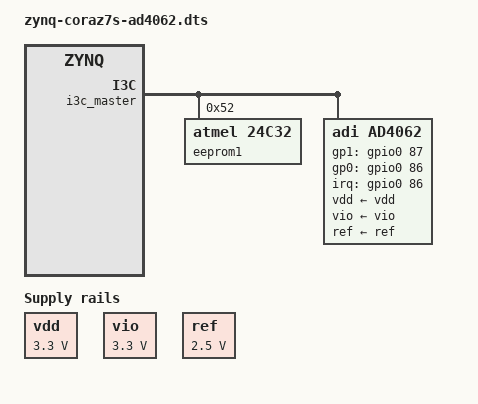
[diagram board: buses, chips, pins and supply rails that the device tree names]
// SPDX-License-Identifier: GPL-2.0
/*
 * Analog Devices AD4062
 *
 * hdl_project: <ad4062_ardz/coraz7s>
 * Link: https://github.com/analogdevicesinc/hdl/tree/main/projects/ad4062_ardz
 * board_revision: <A>
 *
 * Copyright (C) 2025 Analog Devices Inc.
 */
/dts-v1/;
#include "zynq-coraz7s.dtsi"
#include "zynq-coraz7s-axi-sysid.dtsi"
#include <dt-bindings/interrupt-controller/irq.h>
#include <dt-bindings/gpio/gpio.h>

/ {
	vdd: regulator-vdd {
		compatible = "regulator-fixed";
		regulator-name = "vdd-fixed-supply";
		regulator-min-microvolt = <3300000>;
		regulator-max-microvolt = <3300000>;
		regulator-always-on;
	};

	vio: regulator-vio {
		compatible = "regulator-fixed";
		regulator-name = "vio-fixed-supply";
		regulator-min-microvolt = <3300000>;
		regulator-max-microvolt = <3300000>;
		regulator-always-on;
	};

	ref: regulator-ref {
		compatible = "regulator-fixed";
		regulator-name = "ref-fixed-supply";
		regulator-min-microvolt = <2500000>;
		regulator-max-microvolt = <2500000>;
		regulator-always-on;
	};
};

&fpga_axi {
	i3c_master: i3c-master@44a00000 {
		compatible = "adi,i3c-master-v1";
		reg = <0x44a00000 0x1000>;
		interrupt-parent = <&intc>;
		interrupts = <0 56 IRQ_TYPE_LEVEL_HIGH>;
		clocks = <&clkc 15>;
		clock-names = "axi";

		#address-cells = <3>;
		#size-cells = <0>;

		eeprom1: eeprom@52 {
			compatible = "atmel,24c32";
			reg = <0x52 0x0 0x10>;
		};

		ad4062: adc@0,2ee007c0000 {
			/* Ensure to update the PID (e.g. <0x0 0x2ee 0x707000> */
			reg = <0x0 0x2ee 0x7c0000>;
			/* Just for ACE, Linux uses the PID */
			compatible = "adi,ad4062";
			gp1-gpios = <&gpio0 87 GPIO_ACTIVE_HIGH>;
			gp0-gpios = <&gpio0 86 GPIO_ACTIVE_HIGH>;
			vdd-supply = <&vdd>;
			vio-supply = <&vio>;
			ref-supply = <&ref>;

			interrupt-parent = <&gpio0>;
			interrupts = <86 IRQ_TYPE_EDGE_RISING>,
				     <87 IRQ_TYPE_EDGE_FALLING>;
			interrupt-names = "gp0", "gp1";
		};
	};
};
